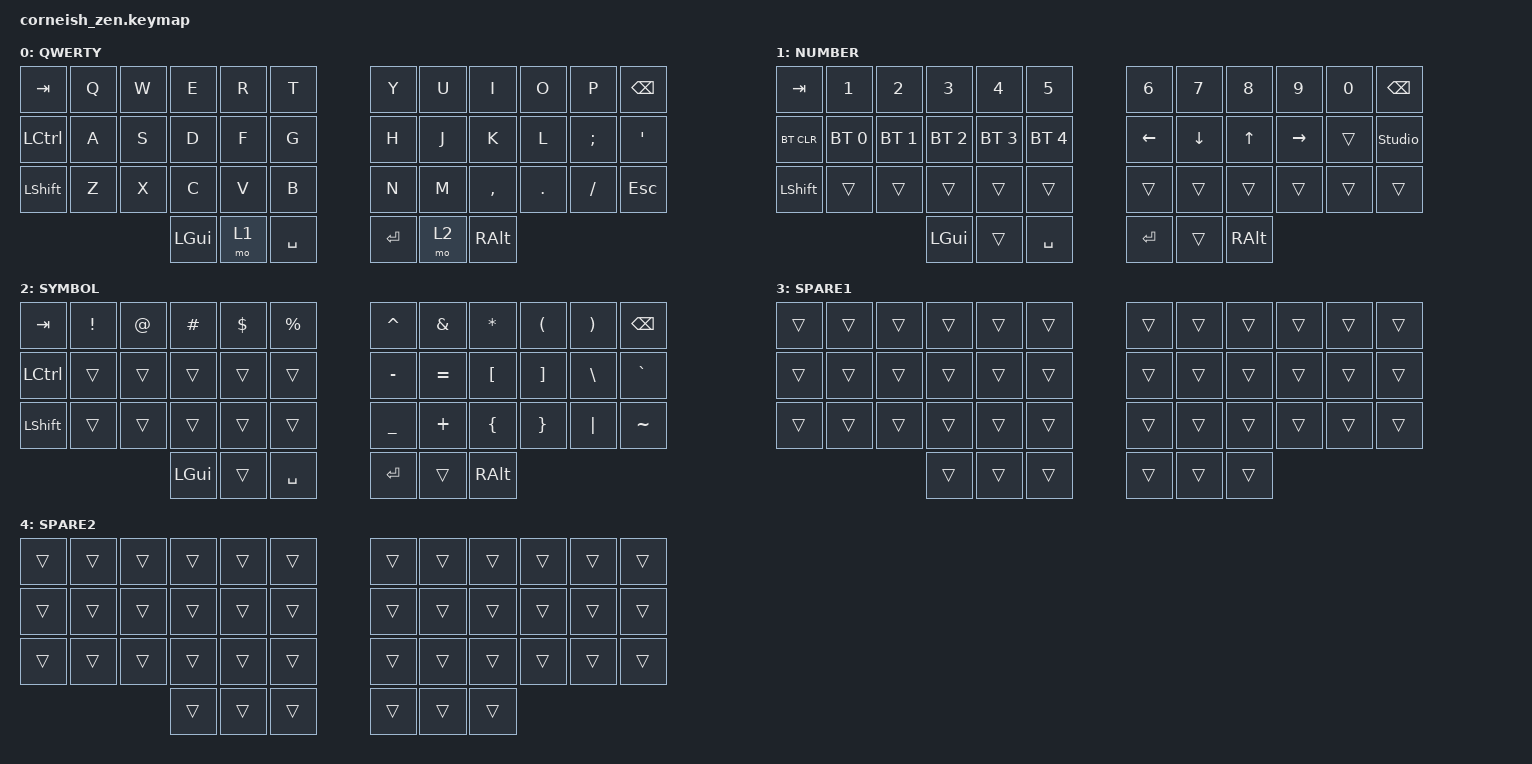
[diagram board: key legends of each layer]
/*
 * Corne-ish Zen v2 — STOCK LOWPROKB layout + 2 extra layers for ZMK Studio.
 * Base keymap copied verbatim from upstream LOWPROKB/zmk-config-zen-2
 * (config/corneish_zen.keymap); SPARE1/SPARE2 appended as empty slots so
 * ZMK Studio has layers 3 and 4 available to edit at runtime.
 */

#include <behaviors.dtsi>
#include <dt-bindings/zmk/keys.h>
#include <dt-bindings/zmk/bt.h>

/ {
    chosen {
        zmk,physical-layout = &foostan_corne_6col_layout;
    };
};

/ {
    keymap {
        compatible = "zmk,keymap";

        default_layer {
            display-name = "QWERTY";
// --------------------------------------------------------------------------------
// |  TAB |  Q  |  W  |  E  |  R  |  T  |   |  Y  |  U   |  I  |  O  |  P  | BSPC |
// | CTRL |  A  |  S  |  D  |  F  |  G  |   |  H  |  J   |  K  |  L  |  ;  |  '   |
// | SHFT |  Z  |  X  |  C  |  V  |  B  |   |  N  |  M   |  ,  |  .  |  /  | ESC  |
//                    | GUI | LWR | SPC |   | ENT | RSE  | ALT |
            bindings = <
&kp TAB   &kp Q &kp W &kp E &kp R &kp T   &kp Y &kp U  &kp I     &kp O   &kp P    &kp BSPC
&kp LCTRL &kp A &kp S &kp D &kp F &kp G   &kp H &kp J  &kp K     &kp L   &kp SEMI &kp SQT
&kp LSHFT &kp Z &kp X &kp C &kp V &kp B   &kp N &kp M  &kp COMMA &kp DOT &kp FSLH &kp ESC
               &kp LGUI &mo 1 &kp SPACE   &kp RET &mo 2 &kp RALT
            >;
        };

        lower_layer {
            display-name = "NUMBER";
// -----------------------------------------------------------------------------------------
// |  TAB |  1  |  2  |  3  |  4  |  5  |   |  6  |  7  |  8  |  9  |  0  | BSPC |
// | BTCLR| BT1 | BT2 | BT3 | BT4 | BT5 |   | LFT | DWN |  UP | RGT |     |Studio|
// | SHFT |     |     |     |     |     |   |     |     |     |     |     |      |
//                    | GUI |     | SPC |   | ENT |     | ALT |
            bindings = <
&kp TAB    &kp N1       &kp N2       &kp N3       &kp N4       &kp N5         &kp N6   &kp N7   &kp N8 &kp N9    &kp N0 &kp BSPC
&bt BT_CLR &bt BT_SEL 0 &bt BT_SEL 1 &bt BT_SEL 2 &bt BT_SEL 3 &bt BT_SEL 4   &kp LEFT &kp DOWN &kp UP &kp RIGHT &trans &studio_unlock
&kp LSHFT  &trans       &trans       &trans       &trans       &trans         &trans   &trans   &trans &trans    &trans &trans
                                     &kp LGUI     &trans       &kp SPACE      &kp RET  &trans   &kp RALT
            >;
        };

        raise_layer {
            display-name = "SYMBOL";
// -----------------------------------------------------------------------------------------
// |  TAB |  !  |  @  |  #  |  $  |  %  |   |  ^  |  &  |  *  |  (  |  )  | BSPC |
// | CTRL |     |     |     |     |     |   |  -  |  =  |  [  |  ]  |  \  |  `   |
// | SHFT |     |     |     |     |     |   |  _  |  +  |  {  |  }  | "|" |  ~   |
//                    | GUI |     | SPC |   | ENT |     | ALT |
            bindings = <
&kp  TAB  &kp EXCL &kp AT &kp HASH &kp DLLR &kp PRCNT   &kp CARET &kp AMPS  &kp ASTRK &kp LPAR &kp RPAR &kp BSPC
&kp LCTRL &trans   &trans &trans   &trans   &trans      &kp MINUS &kp EQUAL &kp LBKT  &kp RBKT &kp BSLH &kp GRAVE
&kp LSHFT &trans   &trans &trans   &trans   &trans      &kp UNDER &kp PLUS  &kp LBRC  &kp RBRC &kp PIPE &kp TILDE
                          &kp LGUI &trans   &kp SPACE   &kp RET   &trans    &kp RALT
            >;
        };

        spare1_layer {
            display-name = "SPARE1";
            bindings = <
&trans  &trans  &trans  &trans  &trans  &trans        &trans  &trans  &trans  &trans  &trans  &trans
&trans  &trans  &trans  &trans  &trans  &trans        &trans  &trans  &trans  &trans  &trans  &trans
&trans  &trans  &trans  &trans  &trans  &trans        &trans  &trans  &trans  &trans  &trans  &trans
                        &trans  &trans  &trans        &trans  &trans  &trans
            >;
        };

        spare2_layer {
            display-name = "SPARE2";
            bindings = <
&trans  &trans  &trans  &trans  &trans  &trans        &trans  &trans  &trans  &trans  &trans  &trans
&trans  &trans  &trans  &trans  &trans  &trans        &trans  &trans  &trans  &trans  &trans  &trans
&trans  &trans  &trans  &trans  &trans  &trans        &trans  &trans  &trans  &trans  &trans  &trans
                        &trans  &trans  &trans        &trans  &trans  &trans
            >;
        };
    };
};
